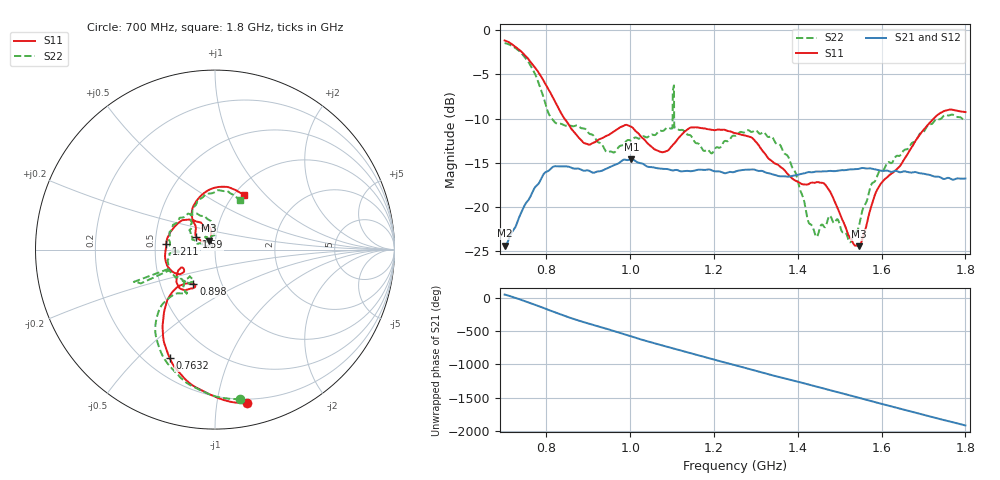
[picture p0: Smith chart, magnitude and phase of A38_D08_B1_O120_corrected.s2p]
! Created with skrf 1.9.0 (http://scikit-rf.org).
# Hz S RI R 50.0
!freq ReS11 ImS11 ReS21 ImS21 ReS12 ImS12 ReS22 ImS22
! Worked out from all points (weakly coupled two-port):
!   1601 points, 700 MHz to 1.8 GHz, reference 50 ohm
!   highest |S21| = -14.59 dB at 1.002 GHz (marker M1); lowest = -24.3 dB at 700 MHz (marker M2)
!   lowest |S11| = -24.4 dB at 1.546 GHz (marker M3), VSWR 1.13, Z = 46.5 + j4.63 ohm
!   |S11| at or under -10 dB: 842.9 MHz to 1.724 GHz (881.5 MHz wide, 68.7 % of centre)
!   |S22| runs from -24.0 to -1.5 dB; largest |S21 - S12| = 0.0036
!   S11 on the Smith chart (normalised r, x): 700 MHz: 0.17, -1.21; 763.2 MHz: 0.30, -0.62; 898 MHz: 0.73, -0.30; 1.211 GHz: 0.57, +0.04; 1.59 GHz: 0.80, +0.11; 1.8 GHz: 1.12, +0.77
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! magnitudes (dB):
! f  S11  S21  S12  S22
! 700 MHz  -1.2  -24.3  -24.1  -1.5
! 763.2 MHz  -3.7  -18.6  -18.6  -4.1
! 814.8 MHz  -7.5  -15.5  -15.5  -10.1
! 883.6 MHz  -12.5  -15.8  -15.7  -11.1
! 898 MHz  -12.9  -15.9  -15.9  -11.5
! 946.1 MHz  -11.9  -15.6  -15.6  -13.8
! 1.002 GHz  -10.9  -14.6  -14.7  -12.5
! 1.067 GHz  -13.7  -15.6  -15.6  -11.5
! 1.107 GHz  -12.7  -15.8  -15.8  -11.0
! 1.174 GHz  -11.1  -15.8  -15.8  -13.6
! 1.211 GHz  -11.2  -16.0  -16.0  -13.3
! 1.25 GHz  -11.6  -16.0  -15.9  -12.0
! 1.357 GHz  -15.4  -16.5  -16.5  -13.0
! 1.394 GHz  -17.0  -16.4  -16.4  -16.1
! 1.434 GHz  -17.2  -16.1  -16.0  -22.1
! 1.469 GHz  -17.7  -15.9  -15.9  -21.8
! 1.524 GHz  -23.4  -15.7  -15.7  -24.0
! 1.546 GHz  -24.4  -15.7  -15.6  -22.2
! 1.59 GHz  -18.0  -15.8  -15.8  -16.5
! 1.617 GHz  -16.5  -15.9  -15.9  -14.9
! 1.733 GHz  -9.6  -16.6  -16.6  -10.0
! 1.8 GHz  -9.3  -16.8  -16.8  -10.1
